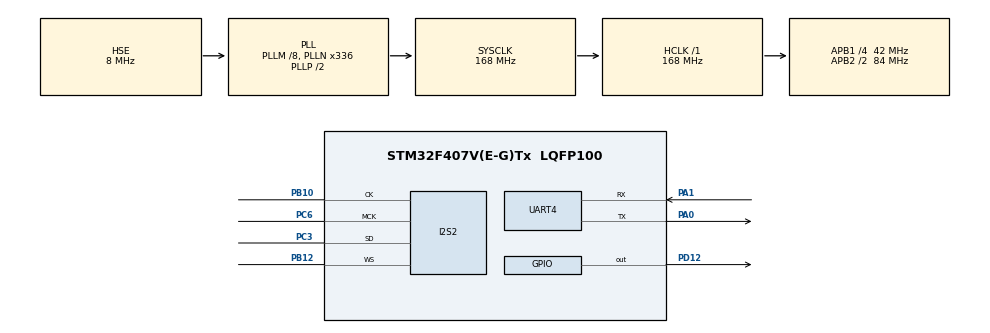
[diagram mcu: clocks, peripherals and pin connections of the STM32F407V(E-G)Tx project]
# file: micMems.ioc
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Dma.Request0=SPI2_TX
Dma.SPI2_TX.0.Direction=DMA_MEMORY_TO_PERIPH
Dma.SPI2_TX.0.FIFOMode=DMA_FIFOMODE_DISABLE
Dma.SPI2_TX.0.Instance=DMA1_Stream4
Dma.SPI2_TX.0.MemDataAlignment=DMA_MDATAALIGN_HALFWORD
Dma.SPI2_TX.0.MemInc=DMA_MINC_ENABLE
Dma.SPI2_TX.0.Mode=DMA_CIRCULAR
Dma.SPI2_TX.0.PeriphDataAlignment=DMA_PDATAALIGN_HALFWORD
Dma.SPI2_TX.0.PeriphInc=DMA_PINC_DISABLE
Dma.SPI2_TX.0.Priority=DMA_PRIORITY_LOW
I2S2.AudioFreq=I2S_AUDIOFREQ_48K
I2S2.CPOL=I2S_CPOL_LOW
I2S2.DataFormat=I2S_DATAFORMAT_16B
I2S2.ErrorAudioFreq=0.36 %
I2S2.FullDuplexMode=I2S_FULLDUPLEXMODE_DISABLE
I2S2.Instance=SPI$Index
I2S2.RealAudioFreq=48.177 KHz
I2S2.VirtualMode=I2S_MODE_MASTER
Mcu.Family=STM32F4
Mcu.Name=STM32F407V(E-G)Tx
Mcu.Package=LQFP100
NVIC.DMA1_Stream4_IRQn=true\:0\:0\:false\:false\:true\:false\:true\:true
NVIC.PriorityGroup=NVIC_PRIORITYGROUP_0
PA0-WKUP.Mode=Asynchronous
PA0-WKUP.Signal=UART4_TX
PA1.Mode=Asynchronous
PA1.Signal=UART4_RX
PA13.Mode=Serial_Wire
PA13.Signal=SYS_JTMS-SWDIO
PA14.Mode=Serial_Wire
PA14.Signal=SYS_JTCK-SWCLK
PB10.Mode=Half_Duplex_Master
PB10.Signal=I2S2_CK
PB12.Mode=Half_Duplex_Master
PB12.Signal=I2S2_WS
PC3.Mode=Half_Duplex_Master
PC3.Signal=I2S2_SD
PC6.Mode=Master_Clock_Activated
PC6.Signal=I2S2_MCK
PD12.Signal=GPIO_Output
PDM2PCM.CHANNEL1_decimation_factor=PDM_FILTER_DEC_FACTOR_64
PDM2PCM.CHANNEL1_high_pass_tap=1500000000
PDM2PCM.CHANNEL1_in_ptr_channels=1
PDM2PCM.CHANNEL1_mic_gain=15
PDM2PCM.CHANNEL1_out_ptr_channels=1
PDM2PCM.CHANNEL1_output_samples_number=16
PH0-OSC_IN.Mode=HSE-External-Oscillator
PH0-OSC_IN.Signal=RCC_OSC_IN
PH1-OSC_OUT.Mode=HSE-External-Oscillator
PH1-OSC_OUT.Signal=RCC_OSC_OUT
ProjectManager.HeapSize=0x200
ProjectManager.StackSize=0x400
ProjectManager.TargetToolchain=STM32CubeIDE
RCC.48MHZClocksFreq_Value=48000000
RCC.AHBFreq_Value=168000000
RCC.APB1CLKDivider=RCC_HCLK_DIV4
RCC.APB1Freq_Value=42000000
RCC.APB1TimFreq_Value=84000000
RCC.APB2CLKDivider=RCC_HCLK_DIV2
RCC.APB2Freq_Value=84000000
RCC.APB2TimFreq_Value=168000000
RCC.CortexFreq_Value=168000000
RCC.HCLKFreq_Value=168000000
RCC.HSE_VALUE=8000000
RCC.HSI_VALUE=16000000
RCC.LSE_VALUE=32768
RCC.PLLI2SN=148
RCC.PLLI2SR=3
RCC.PLLM=8
RCC.PLLN=336
RCC.PLLQ=7
RCC.PLLSourceVirtual=RCC_PLLSOURCE_HSE
RCC.SYSCLKFreq_VALUE=168000000
RCC.SYSCLKSource=RCC_SYSCLKSOURCE_PLLCLK
RCC.VCOOutputFreq_Value=336000000
UART4.VirtualMode=Asynchronous
VP_CRC_VS_CRC.Mode=CRC_Activate
VP_PDM2PCM_VS_PDM2PCM.Mode=PDM2PCM_Channel
board=STM32F407G-DISC1

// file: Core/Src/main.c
/* USER CODE BEGIN Header */
/**
  ******************************************************************************
  * @file           : main.c
  * @brief          : Main program body
  ******************************************************************************
  * @attention
  *
  * Copyright (c) 2024 STMicroelectronics.
  * All rights reserved.
  *
  * This software is licensed under terms that can be found in the LICENSE file
  * in the root directory of this software component.
  * If no LICENSE file comes with this software, it is provided AS-IS.
  *
  ******************************************************************************
  */
/* USER CODE END Header */
#include "main.h"
#include "pdm2pcm.h"

/* USER CODE BEGIN Includes */
#include <stdio.h>  // stdio.h eklenmeli
#include <math.h>
#include <string.h>

/* USER CODE END Includes */

CRC_HandleTypeDef hcrc;

I2S_HandleTypeDef hi2s2;
DMA_HandleTypeDef hdma_spi2_tx;

UART_HandleTypeDef huart4;

/* USER CODE BEGIN PV */
#define PDM_BUFFER_SIZE 64   // Adjust based on your needs
#define PCM_BUFFER_SIZE 16   // Adjust based on your needs
uint8_t pdm_buffer[PDM_BUFFER_SIZE];
int16_t pcm_buffer[PCM_BUFFER_SIZE];
/* USER CODE END PV */

void SystemClock_Config(void);
static void MX_GPIO_Init(void);
static void MX_DMA_Init(void);
static void MX_I2S2_Init(void);
static void MX_UART4_Init(void);
static void MX_CRC_Init(void);

/* USER CODE BEGIN 0 */
// dB değerini hesaplayan fonksiyon, tam sayıya dönüştür
int16_t calculate_dB_int(int16_t sample) {
    if (sample == 0) {
        return -32768;
    }

    float rms = (float)fabs(sample) / 32768.0f;
    float dB = 20 * log10f(rms);
    return (int16_t)dB;
}

/* Send dB over UART and toggle LED */
void send_dB_over_UART() {
    HAL_I2S_Receive(&hi2s2, (uint16_t*)pdm_buffer, PDM_BUFFER_SIZE / 2, 1000);
    PDM_Filter(pdm_buffer, pcm_buffer, &PDM1_filter_handler);
    //send_PCM_over_UART();

    for (int i = 0; i < PCM_BUFFER_SIZE; i++) {
        int16_t dB_value = calculate_dB_int(pcm_buffer[i]);
        char buffer[50];
        int snprintf_ret = snprintf(buffer, sizeof(buffer), "%d \n", dB_value);

        if (snprintf_ret < 0 || snprintf_ret >= sizeof(buffer)) {
            HAL_UART_Transmit(&huart4, (uint8_t*)"snprintf error\n", 15, HAL_MAX_DELAY);
        } else {
            HAL_UART_Transmit(&huart4, (uint8_t*)buffer, strlen(buffer), HAL_MAX_DELAY);
        }

        // LED'i her veri gönderiminde yak ve söndür
        HAL_GPIO_WritePin(GPIOD, GPIO_PIN_12, GPIO_PIN_SET);  // LED'i yak
        HAL_Delay(50);  // Kısa süreli bir gecikme
        HAL_GPIO_WritePin(GPIOD, GPIO_PIN_12, GPIO_PIN_RESET);  // LED'i söndür
    }
    HAL_Delay(100);  // Her iletimden sonra kısa bir gecikme
}

//void send_PCM_over_UART() {
//    HAL_I2S_Receive(&hi2s2, (uint16_t*)pdm_buffer, PDM_BUFFER_SIZE / 2, 1000);
//    PDM_Filter(pdm_buffer, pcm_buffer, &PDM1_filter_handler);
//
//    for (int i = 0; i < PCM_BUFFER_SIZE; i++) {
//        char buffer[50];
//        int snprintf_ret = snprintf(buffer, sizeof(buffer), "PCM Value: %d\n", pcm_buffer[i]);
//
//        if (snprintf_ret < 0 || snprintf_ret >= sizeof(buffer)) {
//            HAL_UART_Transmit(&huart4, (uint8_t*)"snprintf error\n", 15, HAL_MAX_DELAY);
//        } else {
//            HAL_UART_Transmit(&huart4, (uint8_t*)buffer, strlen(buffer), HAL_MAX_DELAY);
//        }
//    }
//}

/* USER CODE END 0 */

int main(void)
{

  /* MCU Configuration--------------------------------------------------------*/

  /* Reset of all peripherals, Initializes the Flash interface and the Systick. */
  HAL_Init();

  /* Configure the system clock */
  SystemClock_Config();

  /* Initialize all configured peripherals */
  MX_GPIO_Init();
  MX_DMA_Init();
  MX_I2S2_Init();
  MX_UART4_Init();
  MX_CRC_Init();
  MX_PDM2PCM_Init();
  /* USER CODE BEGIN 2 */
  HAL_UART_Transmit(&huart4, (uint8_t*)"System Initialized\n", 19, HAL_MAX_DELAY);
  /* USER CODE END 2 */

  /* Infinite loop */
  while (1)
  {

    /* USER CODE BEGIN 3 */
	  send_dB_over_UART();
  }
  /* USER CODE END 3 */
}

void SystemClock_Config(void)
{
  RCC_OscInitTypeDef RCC_OscInitStruct = {0};
  RCC_ClkInitTypeDef RCC_ClkInitStruct = {0};

  /** Configure the main internal regulator output voltage
  */
  __HAL_RCC_PWR_CLK_ENABLE();
  __HAL_PWR_VOLTAGESCALING_CONFIG(PWR_REGULATOR_VOLTAGE_SCALE1);

  /** Initializes the RCC Oscillators according to the specified parameters
  * in the RCC_OscInitTypeDef structure.
  */
  RCC_OscInitStruct.OscillatorType = RCC_OSCILLATORTYPE_HSE;
  RCC_OscInitStruct.HSEState = RCC_HSE_ON;
  RCC_OscInitStruct.PLL.PLLState = RCC_PLL_ON;
  RCC_OscInitStruct.PLL.PLLSource = RCC_PLLSOURCE_HSE;
  RCC_OscInitStruct.PLL.PLLM = 8;
  RCC_OscInitStruct.PLL.PLLN = 336;
  RCC_OscInitStruct.PLL.PLLP = RCC_PLLP_DIV2;
  RCC_OscInitStruct.PLL.PLLQ = 7;
  if (HAL_RCC_OscConfig(&RCC_OscInitStruct) != HAL_OK)
  {
    Error_Handler();
  }

  /** Initializes the CPU, AHB and APB buses clocks
  */
  RCC_ClkInitStruct.ClockType = RCC_CLOCKTYPE_HCLK|RCC_CLOCKTYPE_SYSCLK
                              |RCC_CLOCKTYPE_PCLK1|RCC_CLOCKTYPE_PCLK2;
  RCC_ClkInitStruct.SYSCLKSource = RCC_SYSCLKSOURCE_PLLCLK;
  RCC_ClkInitStruct.AHBCLKDivider = RCC_SYSCLK_DIV1;
  RCC_ClkInitStruct.APB1CLKDivider = RCC_HCLK_DIV4;
  RCC_ClkInitStruct.APB2CLKDivider = RCC_HCLK_DIV2;

  if (HAL_RCC_ClockConfig(&RCC_ClkInitStruct, FLASH_LATENCY_5) != HAL_OK)
  {
    Error_Handler();
  }
}

static void MX_CRC_Init(void)
{

  hcrc.Instance = CRC;
  if (HAL_CRC_Init(&hcrc) != HAL_OK)
  {
    Error_Handler();
  }
  __HAL_CRC_DR_RESET(&hcrc);

}

static void MX_I2S2_Init(void)
{

  hi2s2.Instance = SPI2;
  hi2s2.Init.Mode = I2S_MODE_MASTER_TX;
  hi2s2.Init.Standard = I2S_STANDARD_PHILIPS;
  hi2s2.Init.DataFormat = I2S_DATAFORMAT_16B;
  hi2s2.Init.MCLKOutput = I2S_MCLKOUTPUT_ENABLE;
  hi2s2.Init.AudioFreq = I2S_AUDIOFREQ_48K;
  hi2s2.Init.CPOL = I2S_CPOL_LOW;
  hi2s2.Init.ClockSource = I2S_CLOCK_PLL;
  hi2s2.Init.FullDuplexMode = I2S_FULLDUPLEXMODE_DISABLE;
  if (HAL_I2S_Init(&hi2s2) != HAL_OK)
  {
    Error_Handler();
  }

}

static void MX_UART4_Init(void)
{

  huart4.Instance = UART4;
  huart4.Init.BaudRate = 115200;
  huart4.Init.WordLength = UART_WORDLENGTH_8B;
  huart4.Init.StopBits = UART_STOPBITS_1;
  huart4.Init.Parity = UART_PARITY_NONE;
  huart4.Init.Mode = UART_MODE_TX_RX;
  huart4.Init.HwFlowCtl = UART_HWCONTROL_NONE;
  huart4.Init.OverSampling = UART_OVERSAMPLING_16;
  if (HAL_UART_Init(&huart4) != HAL_OK)
  {
    Error_Handler();
  }

}

static void MX_DMA_Init(void)
{

  /* DMA controller clock enable */
  __HAL_RCC_DMA1_CLK_ENABLE();

  /* DMA interrupt init */
  /* DMA1_Stream4_IRQn interrupt configuration */
  HAL_NVIC_SetPriority(DMA1_Stream4_IRQn, 0, 0);
  HAL_NVIC_EnableIRQ(DMA1_Stream4_IRQn);

}

static void MX_GPIO_Init(void)
{
  GPIO_InitTypeDef GPIO_InitStruct = {0};

  /* GPIO Ports Clock Enable */
  __HAL_RCC_GPIOH_CLK_ENABLE();
  __HAL_RCC_GPIOC_CLK_ENABLE();
  __HAL_RCC_GPIOA_CLK_ENABLE();
  __HAL_RCC_GPIOB_CLK_ENABLE();
  __HAL_RCC_GPIOD_CLK_ENABLE();

  /*Configure GPIO pin Output Level */
  HAL_GPIO_WritePin(GPIOD, GPIO_PIN_12, GPIO_PIN_RESET);

  /*Configure GPIO pin : PD12 */
  GPIO_InitStruct.Pin = GPIO_PIN_12;
  GPIO_InitStruct.Mode = GPIO_MODE_OUTPUT_PP;
  GPIO_InitStruct.Pull = GPIO_NOPULL;
  GPIO_InitStruct.Speed = GPIO_SPEED_FREQ_LOW;
  HAL_GPIO_Init(GPIOD, &GPIO_InitStruct);

}

void Error_Handler(void)
{
  __disable_irq();
  while (1)
  {
  }
}
